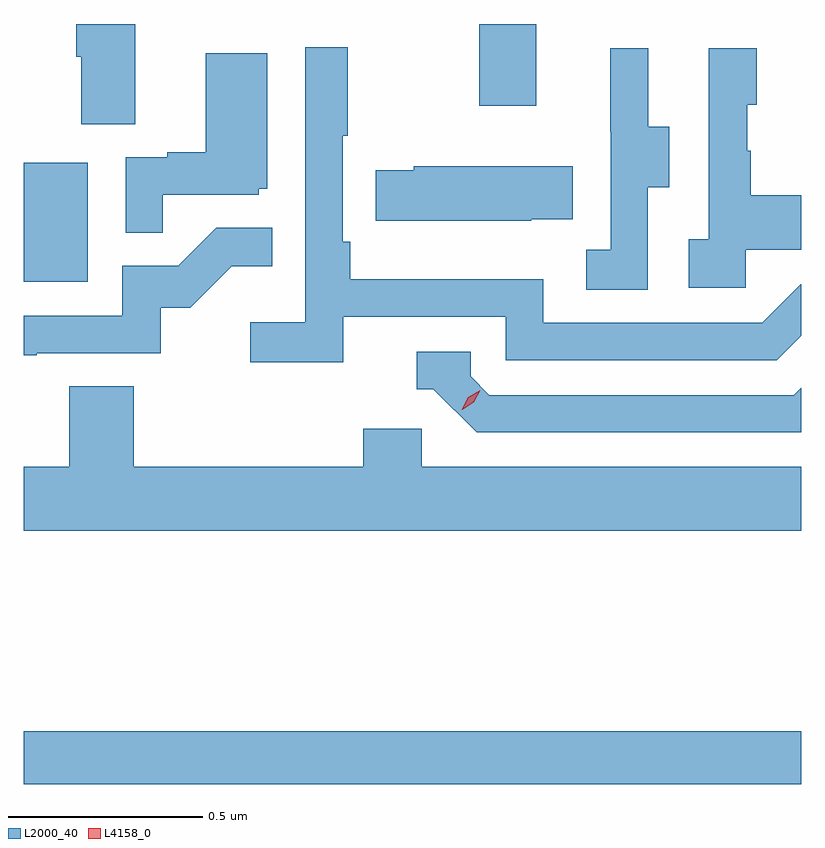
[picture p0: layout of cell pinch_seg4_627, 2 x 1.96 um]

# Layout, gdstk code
import gdstk
lib = gdstk.Library(unit=1e-6, precision=1e-09)
def R(c, l, rs):  # rectangles x0, y0, x1, y1
    for r in rs: c.add(gdstk.rectangle(r[:2], r[2:], *l))
def P(c, l, *ps):  # polygons
    for p in ps: c.add(gdstk.Polygon(p, *l))
L2000_40 = (2000, 40)
L4158_0 = (4158, 0)

pinch_seg4_627 = lib.new_cell('pinch_seg4_627')
R(pinch_seg4_627, L2000_40, [(1022.24,761.536,1024.24,761.672), (1022.24,762.828,1022.404,763.135), (1023.412,763.281,1023.559,763.492)])
P(pinch_seg4_627, L2000_40, [(1022.527,763.492),(1022.375,763.492),(1022.375,763.408),(1022.387,763.408),(1022.387,763.234),(1022.527,763.234)],
  [(1023.062,762.738),(1023.48,762.738),(1023.48,762.627),(1024.177,762.627),(1024.24,762.69),(1024.24,762.822),(1024.239,762.822),(1024.14,762.723),(1023.576,762.723),(1023.576,762.835),(1023.08,762.835),(1023.08,762.931),(1023.06,762.931),(1023.06,763.204),(1023.073,763.204),(1023.073,763.432),(1022.964,763.432),(1022.964,762.724),(1022.823,762.724),(1022.823,762.622),(1023.062,762.622)],
  [(1023.846,763.072),(1023.901,763.072),(1023.901,763.227),(1023.847,763.227),(1023.847,763.429),(1023.749,763.429),(1023.749,763.215),(1023.75,763.215),(1023.75,762.911),(1023.687,762.911),(1023.687,762.808),(1023.846,762.808)],
  [(1024.098,762.911),(1024.24,762.911),(1024.24,763.051),(1024.111,763.051),(1024.111,763.166),(1024.101,763.166),(1024.101,763.284),(1024.126,763.284),(1024.126,763.429),(1024.002,763.429),(1024.002,762.938),(1023.951,762.938),(1023.951,762.813),(1024.098,762.813)],
  [(1022.597,763.053),(1022.844,763.053),(1022.844,763.068),(1022.866,763.068),(1022.866,763.417),(1022.708,763.417),(1022.708,763.162),(1022.609,763.162),(1022.609,763.149),(1022.502,763.149),(1022.502,762.955),(1022.597,762.955)],
  [(1023.545,762.989),(1023.653,762.989),(1023.653,763.126),(1023.243,763.126),(1023.243,763.116),(1023.145,763.116),(1023.145,762.986),(1023.545,762.986)],
  [(1022.273,762.645),(1022.592,762.645),(1022.592,762.762),(1022.668,762.762),(1022.775,762.869),(1022.879,762.869),(1022.879,762.968),(1022.735,762.968),(1022.637,762.87),(1022.493,762.87),(1022.493,762.741),(1022.24,762.741),(1022.24,762.64),(1022.273,762.64)],
  [(1024.24,762.556),(1024.221,762.537),(1023.438,762.537),(1023.39,762.585),(1023.39,762.648),(1023.251,762.648),(1023.251,762.552),(1023.294,762.552),(1023.405,762.441),(1024.24,762.441)],
  [(1024.24,762.352),(1023.264,762.352),(1023.264,762.45),(1023.113,762.45),(1023.113,762.352),(1022.522,762.352),(1022.522,762.56),(1022.357,762.56),(1022.357,762.352),(1022.24,762.352),(1022.24,762.188),(1024.24,762.188)])
P(pinch_seg4_627, L4158_0, [(1023.367,762.499),(1023.367,762.499),(1023.384,762.531),(1023.415,762.55),(1023.415,762.55),(1023.415,762.55),(1023.398,762.518),(1023.368,762.499)])

lib.write_gds('pinch_seg4_627.gds')
